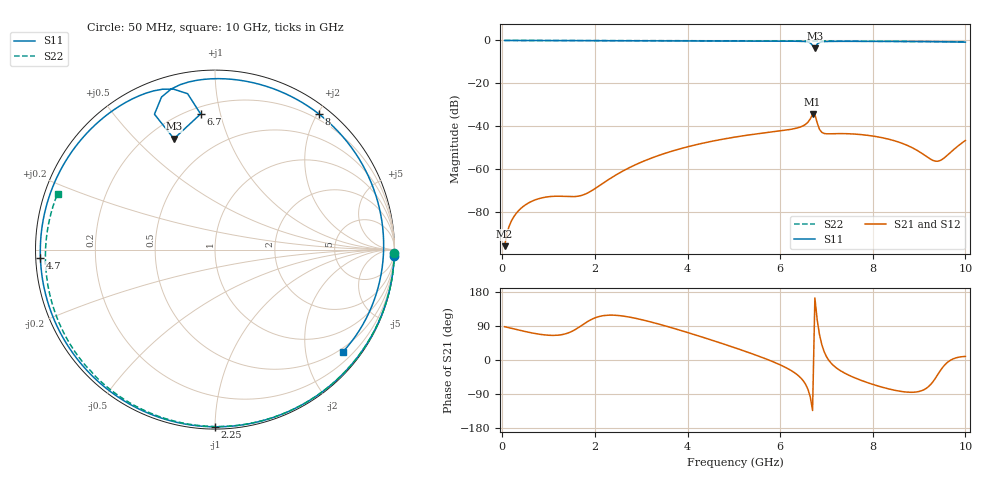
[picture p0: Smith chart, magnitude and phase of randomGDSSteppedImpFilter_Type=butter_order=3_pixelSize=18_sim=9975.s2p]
! freq	dB(S11)	phase(S11)	dB(S12)	phase(S12)
!  dB(S21)	phase(S21)	dB(S22)	phase(S22)
!S-par simulation data
#  GHz  S  DB  R 50
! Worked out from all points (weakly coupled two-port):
!   200 points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, 50 MHz to 10 GHz, reference 50 ohm
!   highest |S21| = -34.49 dB at 6.7 GHz (marker M1); lowest = -95.8 dB at 50 MHz (marker M2)
!   lowest |S11| = -3.6 dB at 6.75 GHz (marker M3), VSWR 4.86, Z = 15 + j32.7 ohm
!   |S11| at or under -10 dB: nowhere
!   |S22| runs from -0.6 to 0.0 dB; largest |S21 - S12| = 0
!   S11 on the Smith chart (normalised r, x): 50 MHz: 1, -54; 2.25 GHz: 0.01, -1.00; 4.7 GHz: 0.01, -0.02; 6.7 GHz: 0.24, +0.87; 8 GHz: 0.13, +2.02; 10 GHz: 0.41, -2.80
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0.05  -0.00 -2.1  -95.83 87.8  -95.83 87.8  -0.00 -1.1
0.3  -0.02 -12.5  -80.57 80.6  -80.57 80.6  -0.01 -6.7
0.85  -0.04 -35.2  -73.35 67.1  -73.35 67.1  -0.02 -18.9
1.75  -0.09 -70.9  -71.92 94.2  -71.92 94.2  -0.05 -38.4
2.25  -0.11 -89.9  -65.43 118.0  -65.43 118.0  -0.06 -49.0
3.4  -0.16 -131.5  -53.40 94.1  -53.40 94.1  -0.10 -72.6
4.7  -0.23 -177.4  -46.23 45.4  -46.23 45.4  -0.14 -97.8
5.05  -0.25 170.0  -44.92 31.1  -44.92 31.1  -0.16 -104.4
6.05  -0.33 131.8  -41.99 -15.6  -41.99 -15.6  -0.22 -122.8
6.5  -0.46 111.2  -39.73 -55.1  -39.73 -55.1  -0.25 -131.1
6.65  -1.09 100.0  -36.55 -97.1  -36.55 -97.1  -0.26 -133.9
6.7  -2.39 96.1  -34.49 -133.2  -34.49 -133.2  -0.27 -134.8
6.75  -3.63 110.3  -34.50 163.6  -34.50 163.6  -0.29 -135.6
6.8  -1.66 114.1  -38.41 105.6  -38.41 105.6  -0.28 -136.5
6.85  -0.91 109.3  -41.43 66.9  -41.43 66.9  -0.28 -137.4
6.95  -0.54 101.9  -43.33 21.9  -43.33 21.9  -0.28 -139.3
7.45  -0.41 77.3  -43.44 -38.2  -43.44 -38.2  -0.32 -148.5
8  -0.43 52.5  -44.53 -64.4  -44.53 -64.4  -0.38 -158.8
8.35  -0.45 36.8  -46.03 -76.5  -46.03 -76.5  -0.41 -165.5
8.9  -0.50 11.9  -50.50 -84.9  -50.50 -84.9  -0.48 -176.3
9.4  -0.59 -10.7  -56.27 -39.1  -56.27 -39.1  -0.54 173.4
10  -0.79 -38.6  -46.57 9.5  -46.57 9.5  -0.62 160.4
